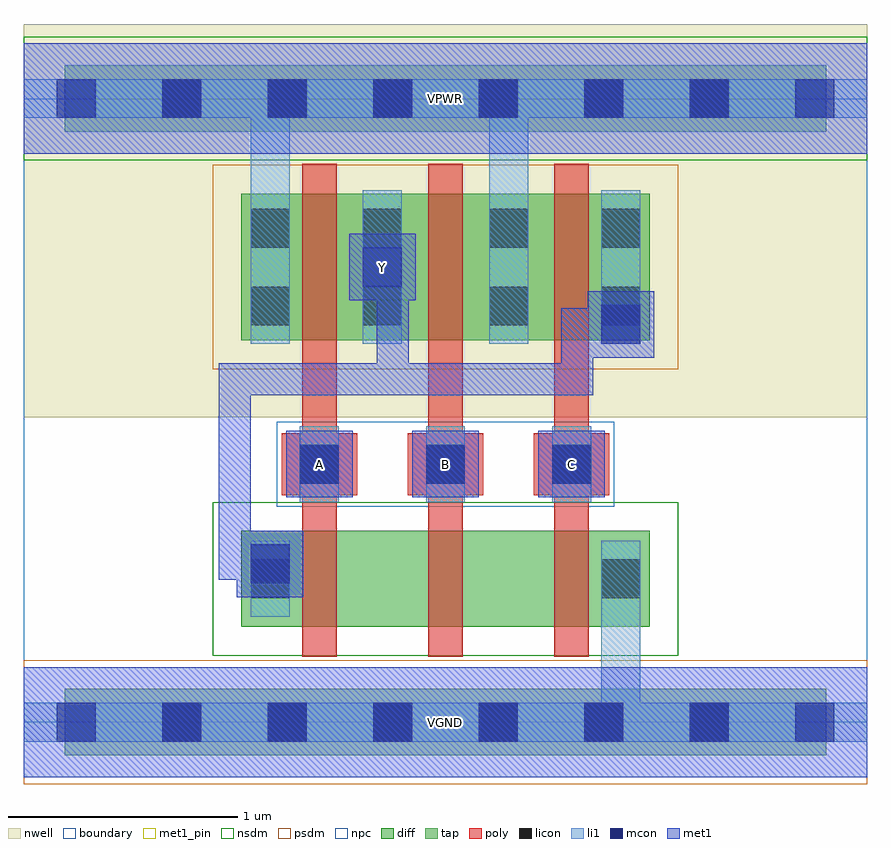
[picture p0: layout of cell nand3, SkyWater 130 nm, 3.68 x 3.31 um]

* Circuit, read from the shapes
.subckt nand3 A B C VGND VPWR Y
XM1 n1 A Y VGND sky130_fd_pr__nfet_01v8 w=0.42 l=0.15
XM2 n2 B n1 VGND sky130_fd_pr__nfet_01v8 w=0.42 l=0.15
XM3 VGND C n2 VGND sky130_fd_pr__nfet_01v8 w=0.42 l=0.15
XM4 Y A VPWR VPWR sky130_fd_pr__pfet_01v8 w=0.64 l=0.15
XM5 VPWR B Y VPWR sky130_fd_pr__pfet_01v8 w=0.64 l=0.15
XM6 Y C VPWR VPWR sky130_fd_pr__pfet_01v8 w=0.64 l=0.15
.ends

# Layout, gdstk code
import gdstk
lib = gdstk.Library(unit=1e-6, precision=1e-09)
def R(c, l, rs):  # rectangles x0, y0, x1, y1
    for r in rs: c.add(gdstk.rectangle(r[:2], r[2:], *l))
def A(c, l, x, y, w, h, nx, ny, dx, dy):  # array of equal rectangles
    R(c, l, [(x+i*dx, y+j*dy, x+i*dx+w, y+j*dy+h) for i in range(nx) for j in range(ny)])
nwell = (64, 20)
diff = (65, 20)
tap = (65, 44)
poly = (66, 20)
licon = (66, 44)
li1 = (67, 20)
mcon = (67, 44)
met1_pin = (68, 16)
met1 = (68, 20)
nsdm = (93, 44)
psdm = (94, 20)
npc = (95, 20)
boundary = (235, 4)

nand3 = lib.new_cell('nand3')
R(nand3, nwell, [(0,1.33,3.68,3.045)])
R(nand3, diff, [(0.95,0.415,2.73,0.835), (0.95,1.665,2.73,2.305)])
R(nand3, tap, [(0.18,-0.145,3.5,0.145), (0.18,2.575,3.5,2.865)])
A(nand3, poly, 1.215, 0.285, 0.15, 2.15, 3, 1, 0.55, 0)
A(nand3, poly, 1.125, 0.99, 0.33, 0.27, 3, 1, 0.55, 0)
A(nand3, licon, 0.605, -0.085, 0.17, 0.17, 6, 2, 0.46, 2.72)
A(nand3, licon, 1.205, 1.04, 0.17, 0.17, 3, 1, 0.55, 0)
R(nand3, licon, [(0.99,0.54,1.16,0.71), (2.52,0.54,2.69,0.71), (0.99,1.73,1.16,1.9), (1.48,1.73,1.65,1.9), (2.03,1.73,2.2,1.9), (2.52,1.73,2.69,1.9), (0.99,2.07,1.16,2.24), (1.48,2.07,1.65,2.24), (2.03,2.07,2.2,2.24), (2.52,2.07,2.69,2.24)])
A(nand3, li1, 1.205, 0.96, 0.17, 0.33, 3, 1, 0.55, 0)
R(nand3, li1, [(0,-0.085,3.68,0.085), (2.52,-0.085,2.69,0.79), (0.99,0.46,1.16,0.79), (2.52,0.46,2.69,0.79), (0.99,1.65,1.16,2.32), (0.99,1.65,1.16,2.805), (1.48,1.65,1.65,2.32), (2.03,1.65,2.2,2.32), (2.03,1.65,2.2,2.805), (2.52,1.65,2.69,2.32), (0,2.635,3.68,2.805)])
A(nand3, mcon, 0.145, -0.085, 0.17, 0.17, 8, 2, 0.46, 2.72)
A(nand3, mcon, 1.205, 1.04, 0.17, 0.17, 3, 1, 0.55, 0)
R(nand3, mcon, [(0.99,0.605,1.16,0.775), (2.52,1.65,2.69,1.82), (1.48,1.9,1.65,2.07)])
A(nand3, met1_pin, 1.145, 0.98, 0.29, 0.29, 3, 1, 0.55, 0)
R(nand3, met1_pin, [(0,-0.24,3.68,0.24), (1.42,1.84,1.71,2.13), (0,2.48,3.68,2.96)])
A(nand3, met1, 1.145, 0.98, 0.29, 0.29, 3, 1, 0.55, 0)
R(nand3, met1, [(0,-0.24,3.68,0.24), (0.93,0.545,1.22,0.835), (0.85,0.62,1.145,0.76), (0.85,0.62,0.99,1.565), (0.85,1.425,1.68,1.565), (1.54,1.425,1.68,2.025), (1.54,1.425,2.485,1.565), (2.345,1.425,2.485,1.68), (2.345,1.54,2.485,1.805), (2.46,1.59,2.75,1.88), (2.345,1.665,2.675,1.805), (1.42,1.84,1.71,2.13), (1.54,1.885,1.68,2.025), (0,2.48,3.68,2.96)])
R(nand3, nsdm, [(0.825,0.29,2.855,0.96), (0,2.45,3.68,2.99)])
R(nand3, psdm, [(0,-0.27,3.68,0.27), (0.825,1.54,2.855,2.43)])
R(nand3, npc, [(1.105,0.94,2.575,1.31)])
R(nand3, boundary, [(0,0,3.68,2.72)])
nand3.add(gdstk.Label('A', (1.29,1.125), layer=68, texttype=5))
nand3.add(gdstk.Label('B', (1.84,1.125), layer=68, texttype=5))
nand3.add(gdstk.Label('C', (2.39,1.125), layer=68, texttype=5))
nand3.add(gdstk.Label('Y', (1.565,1.985), layer=68, texttype=5))
nand3.add(gdstk.Label('VPWR', (1.84,2.72), layer=68, texttype=5))
nand3.add(gdstk.Label('VGND', (1.84,0), layer=68, texttype=5))
nand3.add(gdstk.Label('A', (1.29,1.125), layer=68, texttype=16))
nand3.add(gdstk.Label('B', (1.84,1.125), layer=68, texttype=16))
nand3.add(gdstk.Label('C', (2.39,1.125), layer=68, texttype=16))
nand3.add(gdstk.Label('Y', (1.565,1.985), layer=68, texttype=16))
nand3.add(gdstk.Label('VPWR', (1.84,2.72), layer=68, texttype=16))
nand3.add(gdstk.Label('VGND', (1.84,0), layer=68, texttype=16))

lib.write_gds('nand3.gds')
